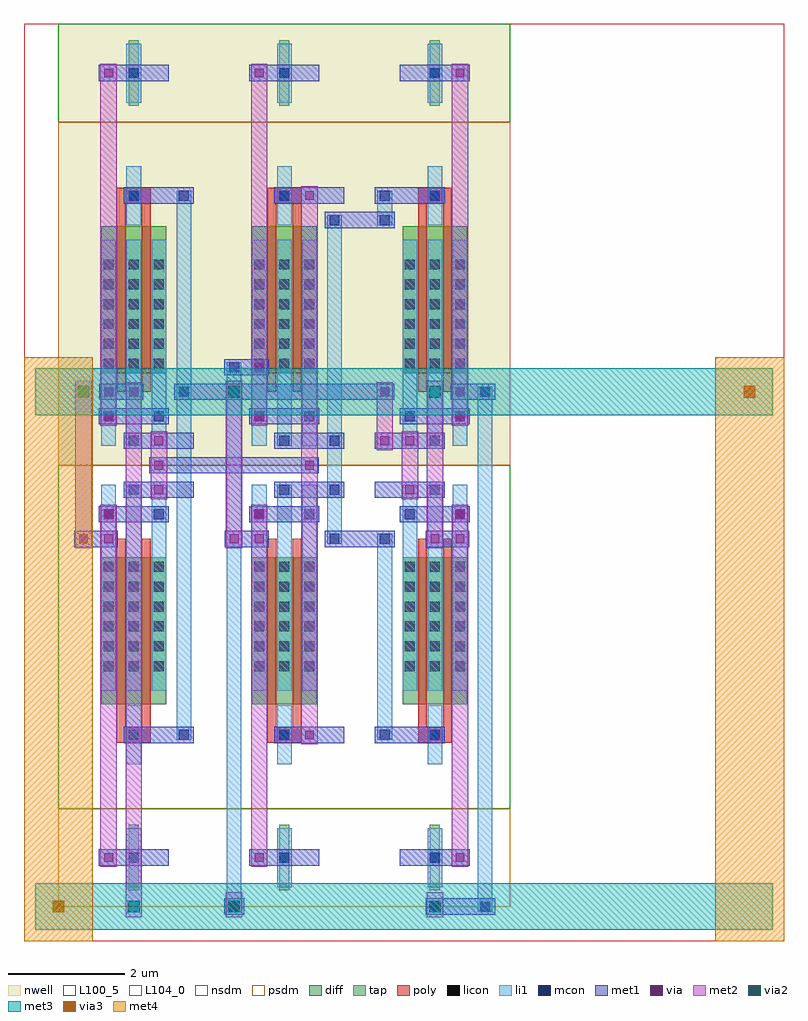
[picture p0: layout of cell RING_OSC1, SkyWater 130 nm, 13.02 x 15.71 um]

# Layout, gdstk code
import gdstk
lib = gdstk.Library(unit=1e-6, precision=1e-09)
def R(c, l, rs):  # rectangles x0, y0, x1, y1
    for r in rs: c.add(gdstk.rectangle(r[:2], r[2:], *l))
def A(c, l, x, y, w, h, nx, ny, dx, dy):  # array of equal rectangles
    R(c, l, [(x+i*dx, y+j*dy, x+i*dx+w, y+j*dy+h) for i in range(nx) for j in range(ny)])
nwell = (64, 20)
diff = (65, 20)
tap = (65, 44)
poly = (66, 20)
licon = (66, 44)
li1 = (67, 20)
mcon = (67, 44)
met1 = (68, 20)
via = (68, 44)
met2 = (69, 20)
via2 = (69, 44)
met3 = (70, 20)
via3 = (70, 44)
met4 = (71, 20)
nsdm = (93, 44)
psdm = (94, 20)
L100_5 = (100, 5)
L104_0 = (104, 0)

ring_osc1 = lib.new_cell('RING_OSC1')
A(ring_osc1, nwell, 0, 7.56, 2.58, 7.56, 3, 1, 2.58, 0)
A(ring_osc1, diff, 0.735, 3.465, 1.11, 2.52, 3, 2, 2.58, 5.67)
A(ring_osc1, tap, 1.205, 0.28, 0.17, 1.12, 3, 2, 2.58, 13.44)
A(ring_osc1, poly, 1, 2.805, 0.58, 0.27, 3, 2, 2.58, 9.24)
R(ring_osc1, poly, [(1,2.94,1.15,6.3), (1.43,2.94,1.58,6.3), (3.58,2.94,3.73,6.3), (4.01,2.94,4.16,6.3), (6.16,2.94,6.31,6.3), (6.59,2.94,6.74,6.3), (1,8.82,1.15,12.18), (1.43,8.82,1.58,12.18), (3.58,8.82,3.73,12.18), (4.01,8.82,4.16,12.18), (6.16,8.82,6.31,12.18), (6.59,8.82,6.74,12.18)])
A(ring_osc1, licon, 1.205, 0.755, 0.17, 0.17, 3, 2, 2.58, 2.1)
A(ring_osc1, licon, 0.775, 4.035, 0.17, 0.17, 3, 6, 0.43, 0.34)
A(ring_osc1, licon, 3.355, 4.035, 0.17, 0.17, 3, 6, 0.43, 0.34)
A(ring_osc1, licon, 5.935, 4.035, 0.17, 0.17, 3, 6, 0.43, 0.34)
A(ring_osc1, licon, 0.775, 9.215, 0.17, 0.17, 3, 6, 0.43, 0.34)
A(ring_osc1, licon, 3.355, 9.215, 0.17, 0.17, 3, 6, 0.43, 0.34)
A(ring_osc1, licon, 5.935, 9.215, 0.17, 0.17, 3, 6, 0.43, 0.34)
A(ring_osc1, licon, 1.205, 12.095, 0.17, 0.17, 3, 2, 2.58, 2.1)
A(ring_osc1, li1, 1.165, 0.335, 0.25, 1.01, 3, 2, 2.58, 2.1)
A(ring_osc1, li1, 0.735, 3.695, 0.25, 3.53, 3, 2, 0.43, 4.2)
A(ring_osc1, li1, 3.315, 3.695, 0.25, 3.53, 3, 2, 0.43, 4.2)
A(ring_osc1, li1, 5.895, 3.695, 0.25, 3.53, 3, 2, 0.43, 4.2)
A(ring_osc1, li1, 1.165, 11.675, 0.25, 1.01, 3, 2, 2.58, 2.1)
R(ring_osc1, li1, [(2.885,-0.085,3.135,9.325), (7.185,-0.085,7.435,8.905), (2.025,2.855,2.275,12.265), (5.465,2.855,5.715,6.385), (4.605,6.215,4.855,11.845), (5.465,11.675,5.715,12.265)])
A(ring_osc1, mcon, 1.205, 0.755, 0.17, 0.17, 3, 2, 2.58, 13.44)
A(ring_osc1, mcon, 2.065, 2.855, 0.17, 0.17, 3, 2, 1.72, 9.24)
A(ring_osc1, mcon, 4.645, 6.215, 0.17, 0.17, 1, 3, 0, 0.84)
R(ring_osc1, mcon, [(2.925,-0.085,3.095,0.085), (7.225,-0.085,7.395,0.085), (1.205,2.855,1.375,3.025), (6.365,2.855,6.535,3.025), (5.505,6.215,5.675,6.385), (0.775,6.635,0.945,6.805), (1.635,6.635,1.805,6.805), (3.355,6.635,3.525,6.805), (4.215,6.635,4.385,6.805), (5.935,6.635,6.105,6.805), (6.795,6.635,6.965,6.805), (1.205,7.055,1.375,7.225), (3.785,7.055,3.955,7.225), (6.365,7.055,6.535,7.225), (1.205,7.895,1.375,8.065), (3.785,7.895,3.955,8.065), (6.365,7.895,6.535,8.065), (0.775,8.315,0.945,8.485), (1.635,8.315,1.805,8.485), (3.355,8.315,3.525,8.485), (4.215,8.315,4.385,8.485), (5.935,8.315,6.105,8.485), (6.795,8.315,6.965,8.485), (2.065,8.735,2.235,8.905), (7.225,8.735,7.395,8.905), (2.925,9.155,3.095,9.325), (4.645,11.675,4.815,11.845), (5.505,11.675,5.675,11.845), (1.205,12.095,1.375,12.265), (6.365,12.095,6.535,12.265)])
A(ring_osc1, met1, 0.69, 0.7, 1.2, 0.28, 3, 2, 2.58, 5.88)
A(ring_osc1, met1, 0.69, 8.26, 1.2, 0.28, 3, 2, 2.58, 5.88)
R(ring_osc1, met1, [(2.84,-0.14,3.18,0.14), (6.29,-0.14,7.48,0.14), (1.12,2.8,2.32,3.08), (3.7,2.8,4.9,3.08), (5.42,2.8,6.62,3.08), (0.27,6.16,1.02,6.44), (2.85,6.16,3.6,6.44), (4.56,6.16,5.76,6.44), (6.29,6.16,7.04,6.44), (1.12,7,2.32,7.28), (3.7,7,4.9,7.28), (5.42,7,6.62,7.28), (1.56,7.42,4.46,7.7), (1.12,7.84,2.32,8.12), (3.7,7.84,4.9,8.12), (5.42,7.84,6.62,8.12), (0.7,8.68,1.45,8.96), (1.98,8.68,5.75,8.96), (6.72,8.68,7.48,8.96), (2.84,9.1,3.6,9.38), (4.56,11.62,5.76,11.9), (1.12,12.04,2.32,12.32), (3.7,12.04,4.9,12.32), (5.42,12.04,6.62,12.32)])
A(ring_osc1, via, 4.225, 2.865, 0.15, 0.15, 1, 3, 0, 4.62)
A(ring_osc1, via, 1.645, 7.065, 0.15, 0.15, 1, 3, 0, 0.42)
R(ring_osc1, via, [(2.935,-0.075,3.085,0.075), (6.375,-0.075,6.525,0.075), (0.785,0.765,0.935,0.915), (3.365,0.765,3.515,0.915), (6.805,0.765,6.955,0.915), (0.355,6.225,0.505,6.375), (0.785,6.225,0.935,6.375), (2.935,6.225,3.085,6.375), (3.365,6.225,3.515,6.375), (6.375,6.225,6.525,6.375), (6.805,6.225,6.955,6.375), (0.785,6.645,0.935,6.795), (3.365,6.645,3.515,6.795), (6.805,6.645,6.955,6.795), (5.945,7.065,6.095,7.215), (5.515,7.905,5.665,8.055), (5.945,7.905,6.095,8.055), (0.785,8.325,0.935,8.475), (3.365,8.325,3.515,8.475), (6.805,8.325,6.955,8.475), (0.785,8.745,0.935,8.895), (1.215,8.745,1.365,8.895), (5.515,8.745,5.665,8.895), (6.805,8.745,6.955,8.895), (3.365,9.165,3.515,9.315), (0.785,14.205,0.935,14.355), (3.365,14.205,3.515,14.355), (6.805,14.205,6.955,14.355)])
R(ring_osc1, met2, [(1.15,-0.185,1.43,8.98), (2.87,-0.185,3.15,0.242), (6.31,-0.185,6.59,0.242), (0.72,0.68,1,6.88), (3.3,0.68,3.58,6.88), (6.74,0.68,7.02,6.88), (4.16,2.78,4.44,12.34), (0.29,6.14,0.57,9.005), (2.87,6.14,3.15,9.005), (6.31,6.14,6.59,9.005), (1.58,6.98,1.86,8.14), (5.88,6.98,6.16,8.14), (5.45,7.82,5.73,8.98), (0.72,8.24,1,14.44), (3.3,8.24,3.58,14.44), (6.74,8.24,7.02,14.44)])
R(ring_osc1, via2, [(1.19,-0.1,1.39,0.1), (2.91,-0.1,3.11,0.1), (6.35,-0.1,6.55,0.1), (0.33,8.72,0.53,8.92), (2.91,8.72,3.11,8.92), (6.35,8.72,6.55,8.92)])
R(ring_osc1, met3, [(-0.4,-0.4,12.24,0.4), (-0.4,8.42,12.24,9.22)])
R(ring_osc1, via3, [(-0.1,-0.1,0.1,0.1), (11.74,8.72,11.94,8.92)])
R(ring_osc1, met4, [(-0.59,-0.59,0.59,9.41), (11.25,-0.59,12.43,9.41)])
A(ring_osc1, nsdm, 0, 1.68, 2.58, 5.88, 3, 1, 2.58, 0)
A(ring_osc1, nsdm, 0, 13.44, 2.58, 1.68, 3, 1, 2.58, 0)
A(ring_osc1, psdm, 0, 0, 2.58, 1.68, 3, 1, 2.58, 0)
A(ring_osc1, psdm, 0, 7.56, 2.58, 5.88, 3, 1, 2.58, 0)
R(ring_osc1, L100_5, [(-0.59,-0.59,12.43,15.12)])
R(ring_osc1, L104_0, [(-0.59,-0.59,12.43,15.12)])

lib.write_gds('RING_OSC1.gds')
